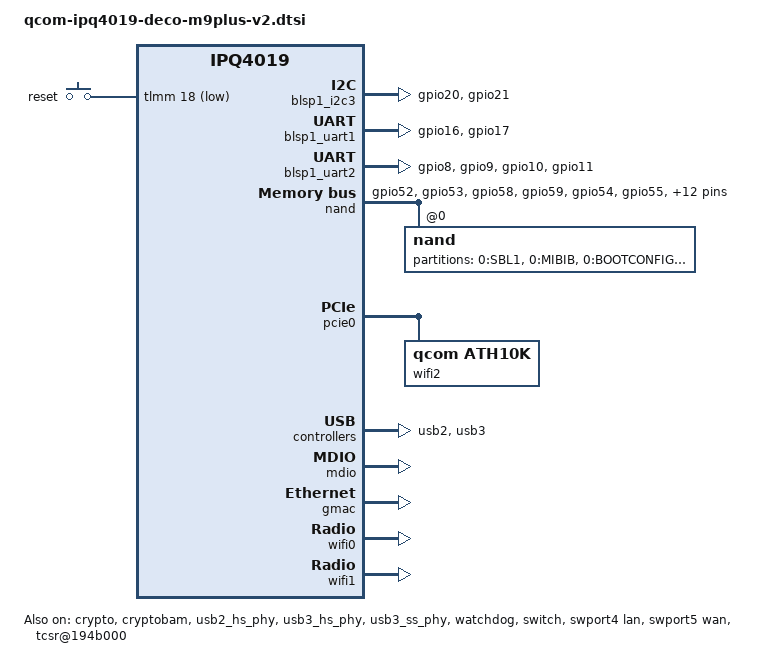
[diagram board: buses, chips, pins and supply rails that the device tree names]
// SPDX-License-Identifier: ISC
// Copyright (c) 2015, The Linux Foundation. All rights reserved.
// Copyright (c) 2021, Frank Veltmans <veltmans.frank@gmail.com>
#include "qcom-ipq4019.dtsi"
#include <dt-bindings/gpio/gpio.h>
#include <dt-bindings/input/input.h>
#include <dt-bindings/soc/qcom,tcsr.h>
#include <dt-bindings/leds/common.h>
/ {
	aliases {
		led-boot = &led_blue;
		led-failsafe = &led_red;
		led-running = &led_green;
		led-upgrade = &led_red;
		label-mac-device = &swport4;
	};
	keys {
		compatible = "gpio-keys";
		reset {
			label = "reset";
			gpios = <&tlmm 18 GPIO_ACTIVE_LOW>;
			linux,code = <KEY_RESTART>;
		};
	};
	soc {
		tcsr@194b000 {
			compatible = "qcom,tcsr";
			reg = <0x194b000 0x100>;
			qcom,usb-hsphy-mode-select = <TCSR_USB_HSPHY_HOST_MODE>;
			status = "okay";
		};
		tcsr@1949000 {
			compatible = "qcom,tcsr";
			reg = <0x1949000 0x100>;
			qcom,wifi_glb_cfg = <TCSR_WIFI_GLB_CFG>;
		};
		tcsr@1957000 {
			compatible = "qcom,tcsr";
			reg = <0x1957000 0x100>;
			qcom,wifi_noc_memtype_m0_m2 = <TCSR_WIFI_NOC_MEMTYPE_M0_M2>;
		};
		ess_tcsr@1953000 {
			compatible = "qcom,tcsr";
			reg = <0x1953000 0x1000>;
			qcom,ess-interface-select = <TCSR_ESS_PSGMII>;
		};
	};
};
&tlmm {
	serial_0_pins: serial_0_pinmux {
		pinmux {
			pins = "gpio16", "gpio17";
			function = "blsp_uart0";
			bias-disable;
		};
	};
	serial_1_pins: serial_1_pinmux {
		pinmux {
			pins = "gpio8", "gpio9", "gpio10", "gpio11";
			function = "blsp_uart1";
			bias-disable;
		};
	};
	spi_0_pins: spi_0_pinmux {
		pinmux {
			pins = "gpio13", "gpio14", "gpio15";
			function = "blsp_spi0";
			drive-strength = <12>;
			bias-disable;
		};
		pinmux_cs {
			pins = "gpio12";
			function = "gpio";
			drive-strength = <2>;
			bias-disable;
			output-high;
		};
	};
	i2c_0_pins: i2c_0_pinmux {
		pinmux {
			pins = "gpio20", "gpio21";
			function = "blsp_i2c0";
			drive-strength = <16>;
			bias-disable;
		};
	};
	nand_pins: nand_pins {
        pullups {
            pins = "gpio52", "gpio53", "gpio58", "gpio59";
            function = "qpic";
            bias-pull-up;
        };

		pulldowns {
			pins = "gpio54", "gpio55", "gpio56",
			"gpio57", "gpio60", "gpio61",
			"gpio62", "gpio63", "gpio64",
			"gpio65", "gpio66", "gpio67",
			"gpio68", "gpio69";
			function = "qpic";
			bias-pull-down;
		};
    };
	wifi_pins: wifi_pinmux {
		pinmux_1 {
			pins = "gpio37";
			function = "gpio";
			drive-strength = <6>;
			bias-pull-up;
			output-high;
		};
		pinmux_2 {
			pins = "gpio42";
			function = "gpio";
			drive-strength = <6>;
			bias-pull-up;
			output-high;
		};
		pinmux_3 {
			pins = "gpio43";
			function = "gpio";
			drive-strength = <6>;
			bias-pull-up;
		};
	};
};
&blsp_dma {
	status = "okay";
};
&blsp1_i2c3 {
	pinctrl-0 = <&i2c_0_pins>;
	pinctrl-names = "default";
	status = "okay";
};
&blsp1_uart1 {
	pinctrl-0 = <&serial_0_pins>;
	pinctrl-names = "default";
	status = "okay";
};
&blsp1_uart2 {
	pinctrl-0 = <&serial_1_pins>;
	pinctrl-names = "default";
	status = "okay";
};
&nand {
	pinctrl-0 = <&nand_pins>;
	pinctrl-names = "default";
	status = "okay";
	nand@0 {
		reg = <0>;
		nand-ecc-mode = "hw";
		partitions {
			#address-cells = <1>;
			#size-cells = <1>;
			compatible = "fixed-partitions";
			partition@0 {
				label = "0:SBL1";
				reg = <0x00000000 0x000100000>;
				read-only;
			};
			partition@100000 {
				label = "0:MIBIB";
				reg = <0x000100000 0x00100000>;
				read-only;
			};
			partition@200000 {
				label = "0:BOOTCONFIG";
				reg = <0x000200000 0x000100000>;
				read-only;
			};
			partition@300000 {
				label = "0:QSEE";
				reg = <0x000300000 0x000100000>;
				read-only;
			};
			partition@400000 {
				label = "0:CDT";
				reg = <0x000400000 0x00080000>;
				read-only;
			};
			partition@480000 {
				label = "0:BOOTCONFIG1";
				reg = <0x00480000 0x00080000>;
				read-only;
			};
			partition@500000 {
				label = "0:APPSBLENV";
				reg = <0x000500000 0x00180000>;
				read-only;
			};
			partition@680000 {
				label = "0:APPSBL";
				reg = <0x000680000 0x00200000>;
				read-only;
			};
			partition@880000 {
				label = "0:ART";
				reg = <0x000880000 0x00080000>;
				read-only;
			};
			partition@900000 {
				label = "rootfs";
				reg = <0x00900000 0x002d00000>;
				read-only;
			};
			partition@3600000 {
				label = "rootfs_1";
				reg = <0x03600000 0x002d00000>;
				read-only;
			};
			partition@6300000 {
				label = "factory_data";
				reg = <0x06300000 0x00900000>;
				read-only;
			};
			partition@6c00000 {
				label = "runtime_data";
				reg = <0x06c00000 0x001100000>;
				read-only;
			};
		};
	};
};
&pcie0 {
	status = "okay";

	perst-gpio = <&tlmm 38 GPIO_ACTIVE_LOW>;
	wake-gpio = <&tlmm 50 GPIO_ACTIVE_LOW>;

	bridge@0,0 {
		reg = <0x00000000 0 0 0 0>;
		#address-cells = <3>;
		#size-cells = <2>;
		ranges;

		wifi2: wifi@1,0 {
			compatible = "qcom,ath10k";
			reg = <0x00010000 0 0 0 0>;
		};
	};
};
&crypto {
	status = "okay";
};
&cryptobam {
	status = "okay";
};
&usb2 {
	status = "okay";
};
&usb2_hs_phy {
	status = "okay";
};
&usb3 {
	status = "okay";
};
&usb3_hs_phy {
	status = "okay";
};
&usb3_ss_phy {
	status = "okay";
};
&mdio {
	status = "okay";
};
&watchdog {
	status = "okay";
};
&gmac {
	status = "okay";
};
&switch {
	status = "okay";
};
&swport4 {
	status = "okay";
	label = "lan";
};
&swport5 {
	status = "okay";
	label = "wan";
};
&wifi0 {
	status = "okay";
};

&wifi1 {
	status = "okay";
	ieee80211-freq-limit = <5170000 5330000>;
};

&wifi2 {
	status = "okay";
	ieee80211-freq-limit = <5490000 5835000>;
};
